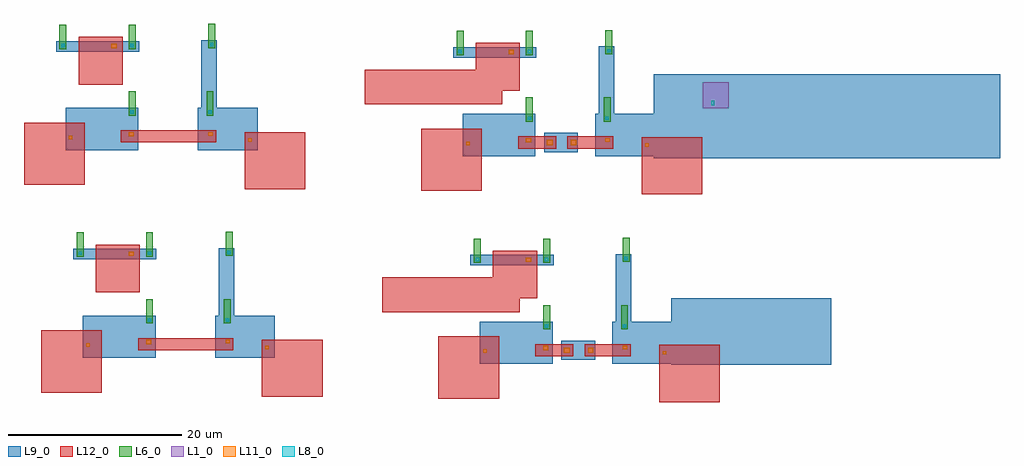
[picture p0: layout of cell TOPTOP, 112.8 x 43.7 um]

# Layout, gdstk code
import gdstk
lib = gdstk.Library(unit=1e-6, precision=1e-09)
def R(c, l, rs):  # rectangles x0, y0, x1, y1
    for r in rs: c.add(gdstk.rectangle(r[:2], r[2:], *l))
L1_0 = (1, 0)
L6_0 = (6, 0)
L8_0 = (8, 0)
L9_0 = (9, 0)
L11_0 = (11, 0)
L12_0 = (12, 0)

trans = lib.new_cell('TRANS')
R(trans, L6_0, [(0,0,0.8,2.8)])
R(trans, L8_0, [(0.2,0.2,0.6,0.6)])

top = lib.new_cell('TOP')
R(top, L9_0, [(38.6,-4.7,47,0.2), (53.9,-4.7,60.8,0.2), (48,-4.2,51.9,-2), (-7.3,-4,1.1,0.9), (8,-4,14.9,0.9), (54.3,-1.2,56.1,8), (8.4,-0.5,10.2,8.7), (37.5,6.7,47.1,7.9), (-8.4,7.4,1.2,8.6)])
R(top, L11_0, [(59.7,-3.6,60.1,-3.2), (39,-3.4,39.4,-3), (48.3,-3.4,49,-2.8), (51.1,-3.4,51.7,-2.8), (45.9,-3.1,46.5,-2.6), (13.8,-3,14.2,-2.6), (55.1,-3,55.6,-2.6), (-6.9,-2.7,-6.5,-2.3), (0,-2.4,0.6,-1.9), (9.2,-2.3,9.7,-1.9), (43.9,7.1,44.5,7.6), (-2,7.8,-1.4,8.3)])
R(top, L12_0, [(59.3,-9.1,66.3,-2.5), (33.8,-8.7,40.8,-1.5), (13.4,-8.5,20.4,-1.9), (-12.1,-8,-5.1,-0.8), (45,-3.8,49.4,-2.4), (50.7,-3.8,56,-2.4), (-0.9,-3.1,10.1,-1.7), (27.3,1.3,43.2,5.3), (40.1,2.9,45.2,8.4), (-5.8,3.6,-0.7,9.1)])
top.add(gdstk.Reference(trans, (0,0)))
top.add(gdstk.Reference(trans, (9,0)))
top.add(gdstk.Reference(trans, (0,7.7)))
top.add(gdstk.Reference(trans, (9.2,7.8)))
top.add(gdstk.Reference(trans, (-8,7.7)))
top.add(gdstk.Reference(trans, (45.9,-0.7)))
top.add(gdstk.Reference(trans, (54.9,-0.7)))
top.add(gdstk.Reference(trans, (45.9,7)))
top.add(gdstk.Reference(trans, (55.1,7.1)))
top.add(gdstk.Reference(trans, (37.9,7)))

toptop = lib.new_cell('TOPTOP')
R(toptop, L1_0, [(65.85,25.45,68.85,28.45)])
R(toptop, L8_0, [(66.8,25.8,67.2,26.3)])
R(toptop, L9_0, [(62.2,-4.2,80.7,3.5), (60.2,19.7,100.2,29.4)])
toptop.add(gdstk.Reference(top, (1.5,0.6)))
toptop.add(gdstk.Reference(top, (-0.5,24.6)))

lib.write_gds('TOPTOP.gds')
